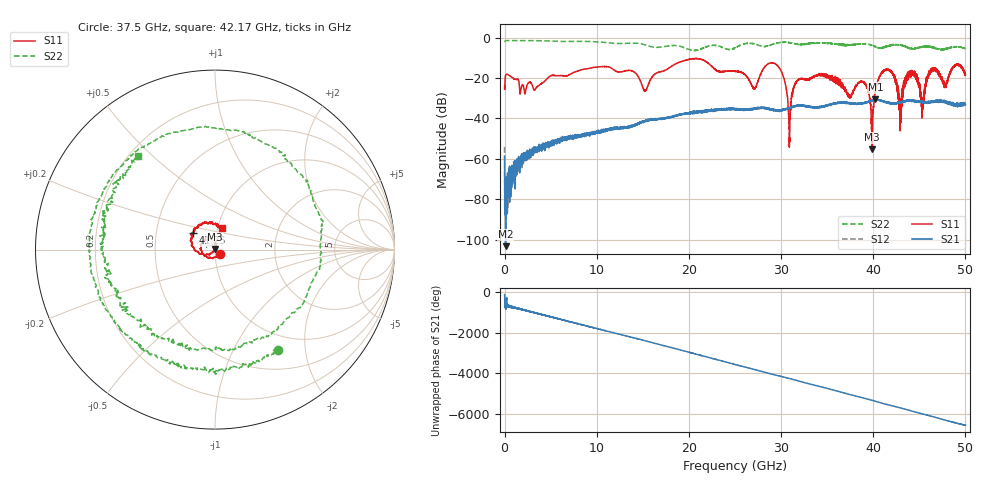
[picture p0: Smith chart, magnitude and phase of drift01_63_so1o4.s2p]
!Created with skrf (http://scikit-rf.org).
# Hz S RI R 50.0
!freq ReS11 ImS11 ReS21 ImS21 ReS12 ImS12 ReS22 ImS22
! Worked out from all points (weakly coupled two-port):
!   10001 points, 300 kHz to 50 GHz, reference 50 ohm
!   highest |S21| = -30.59 dB at 40.24 GHz (marker M1); lowest = -103.3 dB at 105.3 MHz (marker M2)
!   lowest |S11| = -55.3 dB at 39.89 GHz (marker M3), VSWR 1.00, Z = 50 + j0.172 ohm
!   |S11| at or under -10 dB: start of sweep to end of sweep
!   |S22| runs from -6.3 to -1.4 dB; largest |S21 - S12| = 0.0038
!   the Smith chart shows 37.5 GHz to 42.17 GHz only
!   S11 on the Smith chart (normalised r, x): 37.5 GHz: 1.05, -0.05; 41.25 GHz: 0.77, +0.15; 42.17 GHz: 1.05, +0.26
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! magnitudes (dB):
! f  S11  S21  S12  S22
! 300 kHz  -24.0  -59.1  -54.2  -2.2
! 105.3 MHz  -18.7  -103.3  -73.0  -1.5
! 8.335 GHz  -15.9  -48.1  -48.1  -1.8
! 16.67 GHz  -17.1  -40.2  -40.3  -4.8
! 25 GHz  -16.5  -35.3  -35.2  -5.0
! 27.09 GHz  -25.2  -35.1  -35.3  -3.0
! 29.44 GHz  -13.2  -36.1  -35.9  -2.7
! 30.92 GHz  -51.0  -34.7  -34.9  -2.5
! 31.7 GHz  -21.8  -33.8  -33.9  -3.3
! 33.34 GHz  -19.8  -34.5  -34.4  -2.7
! 37.5 GHz  -29.4  -32.3  -32.6  -3.6
! 38.99 GHz  -22.2  -32.4  -32.5  -3.0
! 39.89 GHz  -55.3  -31.2  -31.1  -3.8
! 40.24 GHz  -26.7  -30.6  -30.9  -4.6
! 41.25 GHz  -16.2  -31.8  -31.5  -4.7
! 41.67 GHz  -15.8  -32.0  -32.3  -3.9
! 42.17 GHz  -17.9  -32.8  -32.5  -3.4
! 42.97 GHz  -35.5  -32.1  -31.9  -3.6
! 44.03 GHz  -18.3  -31.0  -31.1  -5.3
! 45.33 GHz  -35.3  -31.9  -31.8  -4.5
! 46.42 GHz  -15.7  -31.7  -31.7  -4.9
! 50 GHz  -18.1  -33.2  -32.9  -5.2
